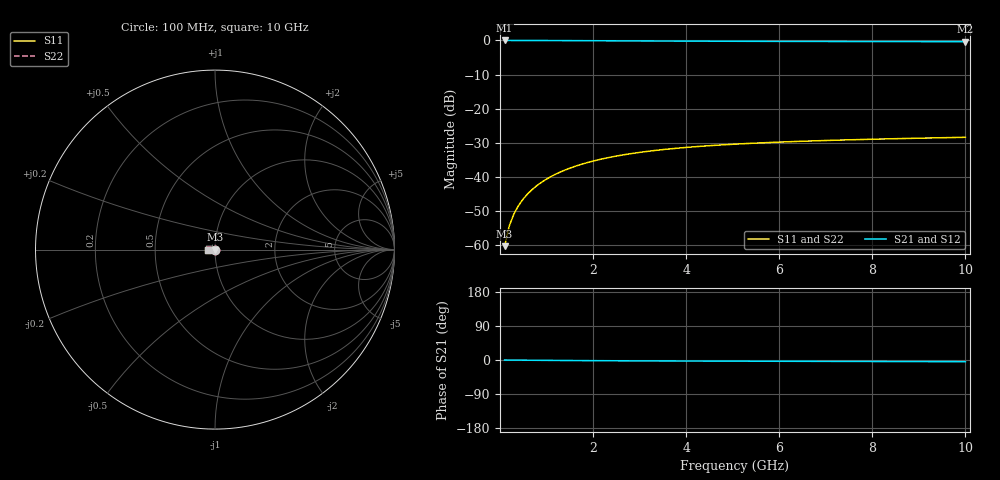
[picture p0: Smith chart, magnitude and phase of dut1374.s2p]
! Touchstone file exported from HFSS 2024.1.0
!  File:  C:/UserFiles/LocalFiles/RDL_TSV_Batchsim/temp_TSV1_1374_1780379545.aedt
!  Generated:  01:57:49 PM Jun  2, 2026
!  Design:  TSV1
!  Project:  temp_TSV1_1374_1780379545
!  Setup:  Setup1
!  Solution:  Sweep
! Variables:
!  dtsv = 8.7um
!  hbump = 3um
!  htsv = 68.86um
!  lrdl = 252.1521522um
!  p = 40
!  p1 = 43.88um
!  t = 500um
!  trdl = 3um
!  wrdl = 24.89489489um
# GHz S MA R 50.000000
! Terminal data exported
! Port[1] = TSV22_T1
! Port[2] = TSV22_T2
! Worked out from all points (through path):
!   100 points, 100 MHz to 10 GHz, reference 50 ohm
!   highest |S21| = 0.00 dB at 100 MHz (marker M1); lowest = -0.4 dB at 10 GHz (marker M2)
!   lowest |S11| = -60.4 dB at 100 MHz (marker M3), VSWR 1.00, Z = 50 - j0.0943 ohm
!   |S11| at or under -10 dB: start of sweep to end of sweep
!   |S22| runs from -60.4 to -28.4 dB; largest |S21 - S12| = 7.4e-15
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0.1  0.0009549 -81.0  0.9998 -0.1  0.9998 -0.1  0.0009549 -81.0
! Gamma 0 0 0 0
! Port Impedance 50 0 50 0
0.2  0.001894 -87.7  0.9997 -0.2  0.9997 -0.2  0.001894 -87.7
0.3  0.002839 -91.2  0.9995 -0.3  0.9995 -0.3  0.002839 -91.2
0.4  0.003779 -93.8  0.9993 -0.4  0.9993 -0.4  0.003779 -93.8
0.5  0.004712 -96.1  0.9991 -0.5  0.9991 -0.5  0.004712 -96.1
0.6  0.005636 -98.1  0.9988 -0.6  0.9988 -0.6  0.005636 -98.1
0.7  0.006549 -100.0  0.9984 -0.7  0.9984 -0.7  0.006549 -100.0
0.8  0.00745 -101.9  0.998 -0.8  0.998 -0.8  0.00745 -101.9
0.9  0.008338 -103.7  0.9976 -0.9  0.9976 -0.9  0.008338 -103.7
1.1  0.01007 -107.1  0.9966 -1.0  0.9966 -1.0  0.01007 -107.1
1.4  0.01253 -112.0  0.9948 -1.3  0.9948 -1.3  0.01253 -112.0
1.6  0.01408 -115.1  0.9935 -1.5  0.9935 -1.5  0.01408 -115.1
1.8  0.01555 -118.0  0.9922 -1.6  0.9922 -1.6  0.01555 -118.0
2.1  0.01761 -122.3  0.9901 -1.8  0.9901 -1.8  0.01761 -122.3
2.5  0.02007 -127.5  0.9872 -2.0  0.9872 -2.0  0.02007 -127.5
2.9  0.02223 -132.4  0.9845 -2.2  0.9845 -2.2  0.02223 -132.4
3.4  0.02456 -137.9  0.9812 -2.5  0.9812 -2.5  0.02456 -137.9
4.2  0.02756 -145.6  0.9766 -2.8  0.9766 -2.8  0.02756 -145.6
5.1  0.03016 -153.0  0.9724 -3.1  0.9724 -3.1  0.03016 -153.0
6.7  0.03348 -163.7  0.9668 -3.5  0.9668 -3.5  0.03348 -163.7
8.4  0.03599 -172.7  0.9628 -4.0  0.9628 -4.0  0.03599 -172.7
10  0.03787 -179.9  0.9602 -4.5  0.9602 -4.5  0.03787 -179.9
